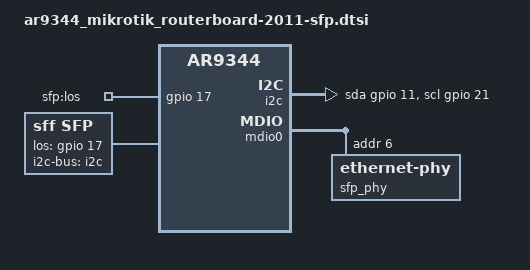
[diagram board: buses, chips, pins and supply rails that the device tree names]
// SPDX-License-Identifier: GPL-2.0-or-later OR MIT

/ {
	gpio-export {
		compatible = "gpio-export";

		sfp_los: gpio_sfp_los {
			gpio-export,name = "sfp:los";
			gpios = <&gpio 17 GPIO_ACTIVE_HIGH>;
		};
	};

	i2c: i2c {
		compatible = "i2c-gpio";
		sda-gpios = <&gpio 11 (GPIO_ACTIVE_HIGH | GPIO_OPEN_DRAIN)>;
		scl-gpios = <&gpio 21 (GPIO_ACTIVE_HIGH | GPIO_OPEN_DRAIN)>;
		i2c-gpio,delay-us = <2>;
		#address-cells = <1>;
		#size-cells = <0>;
	};

	sfp: sfp {
		compatible = "sff,sfp";
		i2c-bus = <&i2c>;
		los-gpios = <&gpio 17 GPIO_ACTIVE_HIGH>;
		/*mod-def0-gpios = <&gpio __ GPIO_ACTIVE_HIGH>;
		tx-fault-gpios = <&gpio __ GPIO_ACTIVE_HIGH>;
		tx-disable-gpios = <&gpio __ GPIO_ACTIVE_HIGH>;*/
	};
};

&mdio0 {
	sfp_phy: ethernet-phy@6 {
		reg = <6>;
		sfp = <&sfp>;
	};
};

&sfp_port {
	phy-handle = <&sfp_phy>;
};
